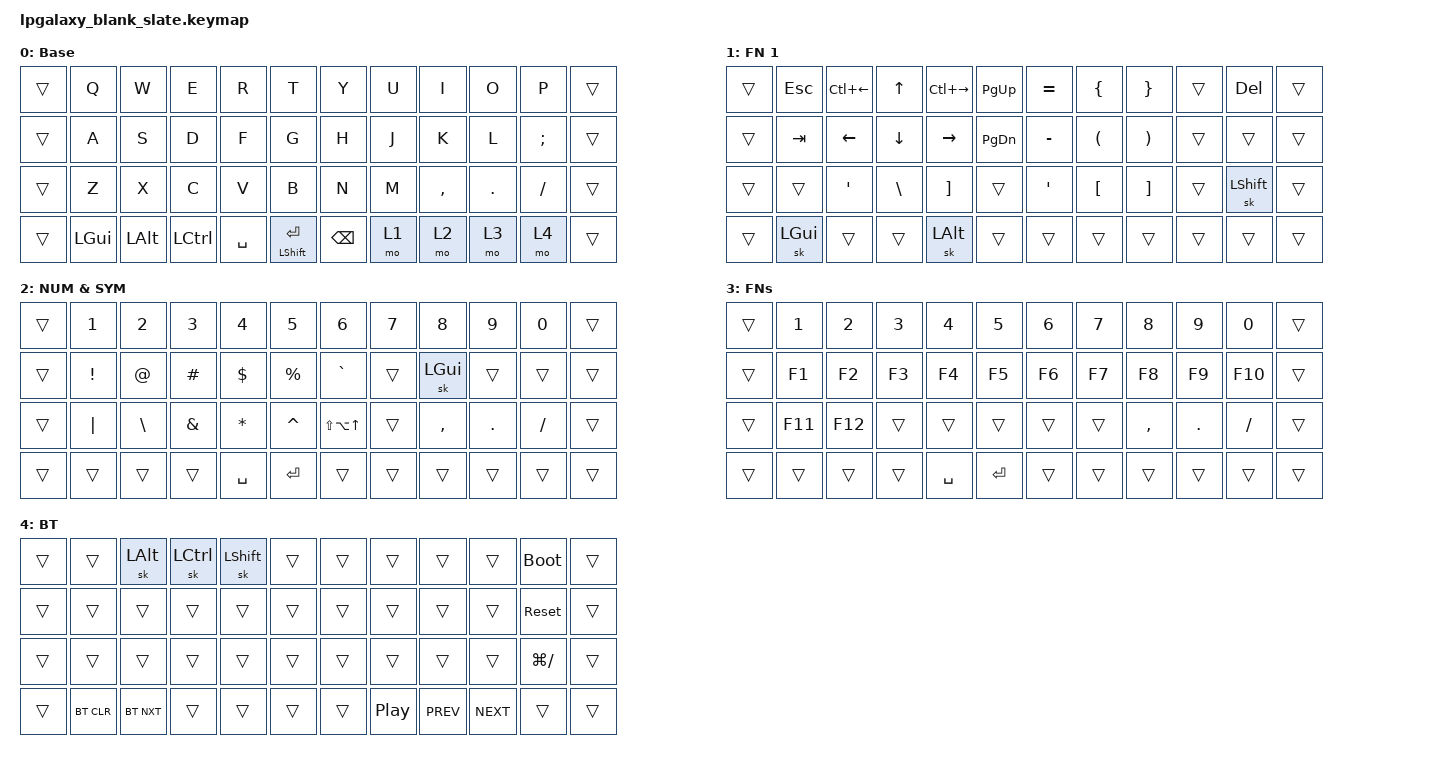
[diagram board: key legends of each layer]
#include <behaviors.dtsi>
#include <dt-bindings/zmk/bt.h>
#include <dt-bindings/zmk/keys.h>

/ {
	keymap {
		compatible = "zmk,keymap";
		qwert_layer {
            display-name = "Base";
			bindings = <
                &trans  &kp Q     &kp W    &kp E     &kp R      &kp T            &kp Y     &kp U   &kp I      &kp O   &kp P     &trans  
                &trans  &kp A     &kp S    &kp D     &kp F      &kp G            &kp H     &kp J   &kp K      &kp L   &kp SEMI  &trans  
                &trans  &kp Z     &kp X    &kp C     &kp V      &kp B            &kp N     &kp M   &kp COMMA  &kp DOT &kp FSLH  &trans  
                &trans  &kp LGUI  &kp LALT &kp LCTRL &kp SPACE  &mt LSHFT ENTER  &kp BSPC  &mo 1   &mo 2      &mo 3   &mo 4     &trans  
			>;
		};

		lower_layer {
            display-name = "FN 1";
			bindings = <
                &trans  &kp ESC   &kp LC(LEFT) &kp UP    &kp LC(RIGHT) &kp PG_UP      &kp EQUAL   &kp LBRC   &kp RBRC   &trans   &kp DEL    &trans    
                &trans  &kp TAB   &kp LEFT     &kp DOWN  &kp RIGHT     &kp PAGE_DOWN  &kp MINUS   &kp LPAR   &kp RPAR   &trans   &trans     &trans  
                &trans  &trans    &kp SQT      &kp BSLH  &kp RBKT      &trans         &kp SQT     &kp LBKT   &kp RBKT   &trans   &sk LSHFT  &trans  
                &trans  &sk LGUI  &trans       &trans    &sk LALT      &trans         &trans      &trans     &trans     &trans   &trans     &trans  
                        >; 
        };

		raise_layer {
            display-name = "NUM & SYM";
			bindings = <
                &trans  &kp N1     &kp N2     &kp N3     &kp N4     &kp N5     &kp N6          &kp N7   &kp N8      &kp N9    &kp N0    &trans  
                &trans  &kp EXCL   &kp AT     &kp HASH   &kp DLLR   &kp PRCNT  &kp GRAVE       &trans   &sk LGUI    &trans    &trans    &trans  
                &trans  &kp PIPE   &kp BSLH   &kp AMPS   &kp STAR   &kp CARET  &kp LS(LA(UP))  &trans   &kp COMMA   &kp DOT   &kp FSLH  &trans  
                &trans  &trans     &trans     &trans     &kp SPACE  &kp ENTER  &trans          &trans   &trans      &trans    &trans    &trans  
                        >;
		};

		layer_3 {
            display-name = "FNs";
			bindings = <
                &trans  &kp N1   &kp N2   &kp N3   &kp N4    &kp N5     &kp N6   &kp N7   &kp N8     &kp N9   &kp N0    &trans  
                &trans  &kp F1   &kp F2   &kp F3   &kp F4    &kp F5     &kp F6   &kp F7   &kp F8     &kp F9   &kp F10   &trans  
                &trans  &kp F11  &kp F12  &trans   &trans    &trans     &trans   &trans   &kp COMMA  &kp DOT  &kp FSLH  &trans  
                &trans  &trans   &trans   &trans   &kp SPACE &kp ENTER  &trans   &trans   &trans     &trans   &trans    &trans  
                        >;
        };

        layer_4 {
            display-name = "BT";
            bindings = <
                &trans  &trans      &sk LALT    &sk LCTRL  &sk LSHFT  &trans  &trans   &trans    &trans      &trans      &bootloader   &trans   
                &trans  &trans      &trans      &trans     &trans     &trans  &trans   &trans    &trans      &trans      &sys_reset    &trans    
                &trans  &trans      &trans      &trans     &trans     &trans  &trans   &trans    &trans      &trans      &kp LG(FSLH)  &trans  
                &trans  &bt BT_CLR  &bt BT_NXT  &trans     &trans     &trans  &trans   &kp C_PP  &kp C_PREV  &kp C_NEXT  &trans        &trans  
                        >;
        };
    };
};
